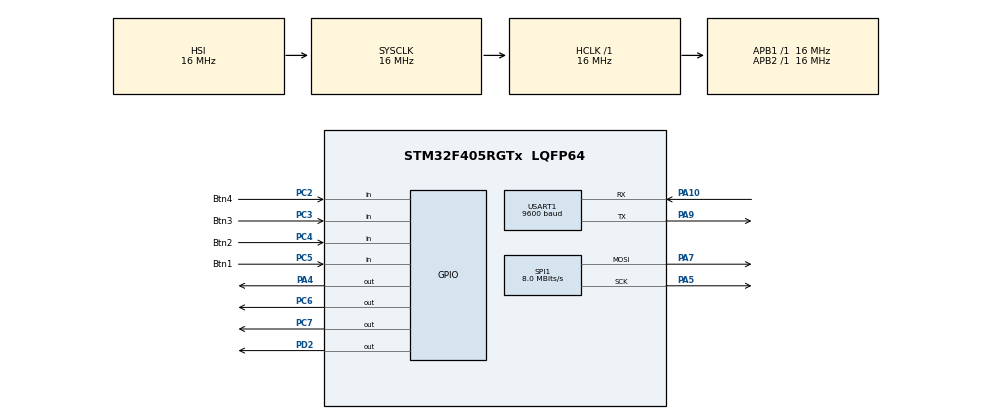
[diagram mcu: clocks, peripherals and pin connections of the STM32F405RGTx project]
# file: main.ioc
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Mcu.Family=STM32F4
Mcu.Name=STM32F405RGTx
Mcu.Package=LQFP64
NVIC.PriorityGroup=NVIC_PRIORITYGROUP_4
PA10.Mode=Asynchronous
PA10.Signal=USART1_RX
PA13.Mode=Serial_Wire
PA13.Signal=SYS_JTMS-SWDIO
PA14.Mode=Serial_Wire
PA14.Signal=SYS_JTCK-SWCLK
PA4.Signal=GPIO_Output
PA5.Mode=TX_Only_Simplex_Unidirect_Master
PA5.Signal=SPI1_SCK
PA7.Mode=TX_Only_Simplex_Unidirect_Master
PA7.Signal=SPI1_MOSI
PA9.Mode=Asynchronous
PA9.Signal=USART1_TX
PC14-OSC32_IN.Mode=LSE-External-Oscillator
PC14-OSC32_IN.Signal=RCC_OSC32_IN
PC15-OSC32_OUT.Mode=LSE-External-Oscillator
PC15-OSC32_OUT.Signal=RCC_OSC32_OUT
PC2.GPIO_Label=Btn4
PC2.Signal=GPIO_Input
PC3.GPIO_Label=Btn3
PC3.Signal=GPIO_Input
PC4.GPIO_Label=Btn2
PC4.Signal=GPIO_Input
PC5.GPIO_Label=Btn1
PC5.Signal=GPIO_Input
PC6.Signal=GPIO_Output
PC7.Signal=GPIO_Output
PD2.Signal=GPIO_Output
PH0-OSC_IN.Mode=HSE-External-Oscillator
PH0-OSC_IN.Signal=RCC_OSC_IN
PH1-OSC_OUT.Mode=HSE-External-Oscillator
PH1-OSC_OUT.Signal=RCC_OSC_OUT
ProjectManager.HeapSize=0x200
ProjectManager.StackSize=0x400
ProjectManager.TargetToolchain=Makefile
RCC.48MHZClocksFreq_Value=48000000
RCC.AHBFreq_Value=16000000
RCC.APB1Freq_Value=16000000
RCC.APB2Freq_Value=16000000
RCC.CortexFreq_Value=16000000
RCC.HSE_VALUE=16000000
RCC.HSI_VALUE=16000000
RCC.PLLSourceVirtual=RCC_PLLSOURCE_HSE
RCC.RCC_RTC_Clock_SourceVirtual=RCC_RTCCLKSOURCE_LSE
RCC.SYSCLKFreq_VALUE=16000000
RCC.VCOOutputFreq_Value=192000000
SPI1.BaudRatePrescaler=SPI_BAUDRATEPRESCALER_2
SPI1.CalculateBaudRate=8.0 MBits/s
SPI1.Direction=SPI_DIRECTION_2LINES
SPI1.Mode=SPI_MODE_MASTER
SPI1.VirtualType=VM_MASTER
USART1.BaudRate=9600
USART1.VirtualMode=VM_ASYNC
VP_RTC_VS_RTC_Activate.Mode=RTC_Enabled
VP_RTC_VS_RTC_Calendar.Mode=RTC_Calendar
board=main

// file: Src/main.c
#include "main.h"
#include "stm32f4xx_hal.h"

/* USER CODE BEGIN Includes */
/* vim: set ai et ts=4 sw=4: */
#include <string.h>
#include <stdarg.h>
#include <stdbool.h>
#include "st7735.h"

/* USER CODE END Includes */

RTC_HandleTypeDef hrtc;
RTC_TimeTypeDef sTime;
RTC_DateTypeDef sDate;

SPI_HandleTypeDef hspi1;

UART_HandleTypeDef huart1;

/* USER CODE BEGIN PV */
/* Private variables ---------------------------------------------------------*/

/* USER CODE END PV */

void SystemClock_Config(void);
static void MX_GPIO_Init(void);
static void MX_USART1_UART_Init(void);
static void MX_RTC_Init(void);
static void MX_SPI1_Init(void);

/* USER CODE BEGIN PFP */
/* Private function prototypes -----------------------------------------------*/

/* USER CODE END PFP */

/* USER CODE BEGIN 0 */

#define NCOLORS 7
static const char colors[NCOLORS+1] = "wyrgbmc";

void UART_Printf(const char* fmt, ...) {
    char buff[256];
    va_list args;
    va_start(args, fmt);
    vsnprintf(buff, sizeof(buff), fmt, args);
    HAL_UART_Transmit(&huart1, (uint8_t*)buff, strlen(buff),
                      HAL_MAX_DELAY);
    va_end(args);
}

void Fix_Date(RTC_DateTypeDef* date, bool set_max) {
    if(date->Date == 0) {
        date->Date = 1;
        return; // no need to re-check
    }

    if(date->Date <= 28) {
        return; // always OK
    }

    // since Year is 0..99 there is no need to
    // check (Year % 100) and (Year % 400) cases.
    bool is_leap = (date->Year % 4) == 0;
    uint8_t days_in_month = 31;
    // There are 30 days in April, June, September and November
    if((date->Month == 4) || (date->Month == 6) || (date->Month == 9) || (date->Month == 11)) {
        days_in_month = 30;
    } else if(date->Month == 2) { // February
        days_in_month = is_leap ? 29 : 28;
    }

    if(date->Date > days_in_month) {
        date->Date = set_max ? days_in_month : 1;
    }
}

int RTC_Set(
        uint8_t year, uint8_t month, uint8_t day,
        uint8_t hour, uint8_t min, uint8_t sec,
        uint8_t dow) {
    HAL_StatusTypeDef res;
    RTC_TimeTypeDef time;
    RTC_DateTypeDef date;

    memset(&time, 0, sizeof(time));
    memset(&date, 0, sizeof(date));

    date.WeekDay = dow;
    date.Year = year;
    date.Month = month;
    date.Date = day;

    res = HAL_RTC_SetDate(&hrtc, &date, RTC_FORMAT_BIN);
    if(res != HAL_OK) {
        UART_Printf("HAL_RTC_SetDate failed: %d\r\n", res);
        return -1;
    }

    time.Hours = hour;
    time.Minutes = min;
    time.Seconds = sec;

    res = HAL_RTC_SetTime(&hrtc, &time, RTC_FORMAT_BIN);
    if(res != HAL_OK) {
        UART_Printf("HAL_RTC_SetTime failed: %d\r\n", res);
        return -2;
    }

    return 0;
}

void init() {
    ST7735_Init();
    ST7735_FillScreen(ST7735_BLACK);

    HAL_PWR_EnableBkUpAccess();

    UART_Printf("Ready!\r\n");
}

uint16_t font_color(uint8_t clr, bool selected) {
    if(selected) {
        clr = (clr + 1) % NCOLORS;
    }

    switch(colors[clr]) {
        case 'w':
            return ST7735_WHITE;
        case 'y':
            return ST7735_YELLOW;
        case 'r':
            return ST7735_RED;
        case 'g':
            return ST7735_GREEN;
        case 'b':
            return ST7735_BLUE;
        case 'm':
            return ST7735_MAGENTA;
        case 'c':
            return ST7735_CYAN;
        default: // should never happen, return gray
            return ST7735_COLOR565(15, 31, 15);
    }
}

uint8_t cursor_offset = 0;

void loop() {
    HAL_Delay(100);

    bool btn_dec = false;
    bool btn_inc = false;

    if(HAL_GPIO_ReadPin(Btn1_GPIO_Port, Btn1_Pin) == GPIO_PIN_RESET) {
        cursor_offset = (cursor_offset == 0) ? 7 : cursor_offset - 1;
    }

    if(HAL_GPIO_ReadPin(Btn2_GPIO_Port, Btn2_Pin) == GPIO_PIN_RESET) {
        cursor_offset = (cursor_offset + 1) % 9;
    }

    if(HAL_GPIO_ReadPin(Btn3_GPIO_Port, Btn3_Pin) == GPIO_PIN_RESET) {
        btn_dec = true;
    }

    if(HAL_GPIO_ReadPin(Btn4_GPIO_Port, Btn4_Pin) == GPIO_PIN_RESET) {
        btn_inc = true;
    }

    RTC_TimeTypeDef time;
    RTC_DateTypeDef date;
    HAL_StatusTypeDef res;

    res = HAL_RTC_GetTime(&hrtc, &time, RTC_FORMAT_BIN);
    if(res != HAL_OK) {
        UART_Printf("HAL_RTC_GetTime failed: %d\r\n", res);
        return;
    }

    res = HAL_RTC_GetDate(&hrtc, &date, RTC_FORMAT_BIN);
    if(res != HAL_OK) {
        UART_Printf("HAL_RTC_GetDate failed: %d\r\n", res);
        return;
    }

    uint8_t chosen_color = (uint8_t)HAL_RTCEx_BKUPRead(&hrtc, RTC_BKP_DR1);
    chosen_color = chosen_color % NCOLORS;
    uint16_t default_color = font_color(chosen_color, false);

    char tmp[32];
    snprintf(tmp, sizeof(tmp), "%02d", time.Hours);
    ST7735_WriteString(11*0, 18*0, tmp, Font_11x18, font_color(chosen_color, (cursor_offset == 1)), ST7735_BLACK);
    ST7735_WriteString(11*2, 18*0, ":", Font_11x18, default_color, ST7735_BLACK);
    snprintf(tmp, sizeof(tmp), "%02d", time.Minutes);
    ST7735_WriteString(11*3, 18*0, tmp, Font_11x18, font_color(chosen_color, (cursor_offset == 2)), ST7735_BLACK);
    ST7735_WriteString(11*5, 18*0, ":", Font_11x18, default_color, ST7735_BLACK);
    snprintf(tmp, sizeof(tmp), "%02d", time.Seconds);
    ST7735_WriteString(11*6, 18*0, tmp, Font_11x18, font_color(chosen_color, (cursor_offset == 3)), ST7735_BLACK);

    snprintf(tmp, sizeof(tmp), "%02d", date.Date);
    ST7735_WriteString(11*0, 18*1, tmp, Font_11x18, font_color(chosen_color, (cursor_offset == 4)), ST7735_BLACK);
    ST7735_WriteString(11*2, 18*1, ".", Font_11x18, default_color, ST7735_BLACK);
    snprintf(tmp, sizeof(tmp), "%02d", date.Month);
    ST7735_WriteString(11*3, 18*1, tmp, Font_11x18, font_color(chosen_color, (cursor_offset == 5)), ST7735_BLACK);
    ST7735_WriteString(11*5, 18*1, ".", Font_11x18, default_color, ST7735_BLACK);
    snprintf(tmp, sizeof(tmp), "%02d", date.Year);
    ST7735_WriteString(11*6, 18*1, tmp, Font_11x18, font_color(chosen_color, (cursor_offset == 6)), ST7735_BLACK);

    ST7735_WriteString(11*0, 18*2, "DOW:  ", Font_11x18, default_color, ST7735_BLACK);
    snprintf(tmp, sizeof(tmp), "%02d", date.WeekDay);
    ST7735_WriteString(11*6, 18*2, tmp, Font_11x18, font_color(chosen_color, (cursor_offset == 7)), ST7735_BLACK);

    ST7735_WriteString(11*0, 18*3, "Color: ", Font_11x18, default_color, ST7735_BLACK);
    snprintf(tmp, sizeof(tmp), "%c/%c", colors[chosen_color], colors[(chosen_color + 1) % NCOLORS]);
    ST7735_WriteString(11*7, 18*3, tmp, Font_11x18, font_color(chosen_color, (cursor_offset == 8)), ST7735_BLACK);

    if(cursor_offset == 1) { // edit hour
        if(btn_dec) {
            if(time.Hours == 0) {
                time.Hours = 23;
            } else {
                time.Hours--;
            }
        } else if(btn_inc) {
            time.Hours = (time.Hours + 1) % 24;
        }
    }

    if(cursor_offset == 2) { // edit minute
        if(btn_dec) {
            if(time.Minutes == 0) {
                time.Minutes = 59;
            } else {
                time.Minutes--;
            }
        } else if(btn_inc) {
            time.Minutes = (time.Minutes + 1) % 60;
        }
    }

    if(cursor_offset == 3) { // edit second
        if(btn_dec) {
            if(time.Seconds == 0) {
                time.Seconds = 59;
            } else {
                time.Seconds--;
            }
        } else if(btn_inc) {
            time.Seconds = (time.Seconds + 1) % 60;
        }
    }

    if(cursor_offset == 4) { // edit day
        if(btn_dec) {
            if(date.Date == 1) {
                date.Date = 31;
                Fix_Date(&date, true);
            } else {
                date.Date--;
            }
        } else if(btn_inc) {
            date.Date++;
            Fix_Date(&date, false);
        }
    }

    if(cursor_offset == 5) { // edit month
        if(btn_dec) {
            if(date.Month == 1) {
                date.Month = 12;
            } else {
                date.Month--;
            }
        } else if(btn_inc) {
            if(date.Month == 12) {
                date.Month = 1;
            } else {
                date.Month++;
            }
        }

        Fix_Date(&date, true);
    }

    if(cursor_offset == 6) { // edit year
        if(btn_dec) {
            if(date.Year == 0) {
                date.Year = 99;
            } else {
                date.Year--;
            }
        } else if(btn_inc) {
            date.Year = (date.Year + 1) % 100;
        }
        Fix_Date(&date, true);
    }

    if(cursor_offset == 7) { // edit day of week
        if(btn_dec) {
            if(date.WeekDay == 1) {
                date.WeekDay = 7;
            } else {
                date.WeekDay--;
            }
        } else if(btn_inc) {
            if(date.WeekDay == 7) {
                date.WeekDay = 1;
            } else {
                date.WeekDay++;
            }
        }
    }

    if(cursor_offset == 8) { // edir color
        if(btn_dec) {
            if(chosen_color == 0) {
                chosen_color = NCOLORS-1;
            } else {
                chosen_color--;
            }
        } else if(btn_inc) {
            chosen_color = (chosen_color + 1) % NCOLORS;
        }
    }

    // Don't re-use RTC_*TypeDef structures filled by HAL_RTC_GetTime/GetDate
    // It causes bugs like 25th hour
    if((cursor_offset >= 1) && (cursor_offset <= 7) && (btn_dec || btn_inc)) {
        RTC_Set(
           date.Year,  date.Month, date.Date,      // Y, M, D
           time.Hours, time.Minutes, time.Seconds, // H, M, S
           date.WeekDay // day of week, 1-7 (mon-sun)
        );
    }

    if((cursor_offset == 8) && (btn_dec || btn_inc)) {
        HAL_RTCEx_BKUPWrite(&hrtc, RTC_BKP_DR1, (uint32_t)chosen_color);
    }
}

/* USER CODE END 0 */

int main(void)
{

  /* MCU Configuration----------------------------------------------------------*/

  /* Reset of all peripherals, Initializes the Flash interface and the Systick. */
  HAL_Init();

  /* Configure the system clock */
  SystemClock_Config();

  /* Initialize all configured peripherals */
  MX_GPIO_Init();
  MX_USART1_UART_Init();
  MX_RTC_Init();
  MX_SPI1_Init();

  /* Infinite loop */
  /* USER CODE BEGIN WHILE */
  init();
  while (1)
  {
    loop();
  /* USER CODE END WHILE */

  }

}

/** System Clock Configuration
*/
void SystemClock_Config(void)
{

  RCC_OscInitTypeDef RCC_OscInitStruct;
  RCC_ClkInitTypeDef RCC_ClkInitStruct;
  RCC_PeriphCLKInitTypeDef PeriphClkInitStruct;

    /**Configure the main internal regulator output voltage
    */
  __HAL_RCC_PWR_CLK_ENABLE();

  __HAL_PWR_VOLTAGESCALING_CONFIG(PWR_REGULATOR_VOLTAGE_SCALE1);

    /**Initializes the CPU, AHB and APB busses clocks
    */
  RCC_OscInitStruct.OscillatorType = RCC_OSCILLATORTYPE_HSI|RCC_OSCILLATORTYPE_LSE;
  RCC_OscInitStruct.LSEState = RCC_LSE_ON;
  RCC_OscInitStruct.HSIState = RCC_HSI_ON;
  RCC_OscInitStruct.HSICalibrationValue = 16;
  RCC_OscInitStruct.PLL.PLLState = RCC_PLL_NONE;
  if (HAL_RCC_OscConfig(&RCC_OscInitStruct) != HAL_OK)
  {
    _Error_Handler(__FILE__, __LINE__);
  }

    /**Initializes the CPU, AHB and APB busses clocks
    */
  RCC_ClkInitStruct.ClockType = RCC_CLOCKTYPE_HCLK|RCC_CLOCKTYPE_SYSCLK
                              |RCC_CLOCKTYPE_PCLK1|RCC_CLOCKTYPE_PCLK2;
  RCC_ClkInitStruct.SYSCLKSource = RCC_SYSCLKSOURCE_HSI;
  RCC_ClkInitStruct.AHBCLKDivider = RCC_SYSCLK_DIV1;
  RCC_ClkInitStruct.APB1CLKDivider = RCC_HCLK_DIV1;
  RCC_ClkInitStruct.APB2CLKDivider = RCC_HCLK_DIV1;

  if (HAL_RCC_ClockConfig(&RCC_ClkInitStruct, FLASH_LATENCY_0) != HAL_OK)
  {
    _Error_Handler(__FILE__, __LINE__);
  }

  PeriphClkInitStruct.PeriphClockSelection = RCC_PERIPHCLK_RTC;
  PeriphClkInitStruct.RTCClockSelection = RCC_RTCCLKSOURCE_LSE;
  if (HAL_RCCEx_PeriphCLKConfig(&PeriphClkInitStruct) != HAL_OK)
  {
    _Error_Handler(__FILE__, __LINE__);
  }

    /**Configure the Systick interrupt time
    */
  HAL_SYSTICK_Config(HAL_RCC_GetHCLKFreq()/1000);

    /**Configure the Systick
    */
  HAL_SYSTICK_CLKSourceConfig(SYSTICK_CLKSOURCE_HCLK);

  /* SysTick_IRQn interrupt configuration */
  HAL_NVIC_SetPriority(SysTick_IRQn, 0, 0);
}

/* RTC init function */
static void MX_RTC_Init(void)
{

    /**Initialize RTC Only
    */
  hrtc.Instance = RTC;
  hrtc.Init.HourFormat = RTC_HOURFORMAT_24;
  hrtc.Init.AsynchPrediv = 127;
  hrtc.Init.SynchPrediv = 255;
  hrtc.Init.OutPut = RTC_OUTPUT_DISABLE;
  hrtc.Init.OutPutPolarity = RTC_OUTPUT_POLARITY_HIGH;
  hrtc.Init.OutPutType = RTC_OUTPUT_TYPE_OPENDRAIN;
  if (HAL_RTC_Init(&hrtc) != HAL_OK)
  {
    _Error_Handler(__FILE__, __LINE__);
  }

    /**Initialize RTC and set the Time and Date
    */
  if(HAL_RTCEx_BKUPRead(&hrtc, RTC_BKP_DR0) != 0x32F2){
  if (HAL_RTC_SetTime(&hrtc, &sTime, RTC_FORMAT_BCD) != HAL_OK)
  {
    _Error_Handler(__FILE__, __LINE__);
  }

  if (HAL_RTC_SetDate(&hrtc, &sDate, RTC_FORMAT_BCD) != HAL_OK)
  {
    _Error_Handler(__FILE__, __LINE__);
  }

    HAL_RTCEx_BKUPWrite(&hrtc,RTC_BKP_DR0,0x32F2);
  }

}

/* SPI1 init function */
static void MX_SPI1_Init(void)
{

  /* SPI1 parameter configuration*/
  hspi1.Instance = SPI1;
  hspi1.Init.Mode = SPI_MODE_MASTER;
  hspi1.Init.Direction = SPI_DIRECTION_2LINES;
  hspi1.Init.DataSize = SPI_DATASIZE_8BIT;
  hspi1.Init.CLKPolarity = SPI_POLARITY_LOW;
  hspi1.Init.CLKPhase = SPI_PHASE_1EDGE;
  hspi1.Init.NSS = SPI_NSS_SOFT;
  hspi1.Init.BaudRatePrescaler = SPI_BAUDRATEPRESCALER_2;
  hspi1.Init.FirstBit = SPI_FIRSTBIT_MSB;
  hspi1.Init.TIMode = SPI_TIMODE_DISABLE;
  hspi1.Init.CRCCalculation = SPI_CRCCALCULATION_DISABLE;
  hspi1.Init.CRCPolynomial = 10;
  if (HAL_SPI_Init(&hspi1) != HAL_OK)
  {
    _Error_Handler(__FILE__, __LINE__);
  }

}

/* USART1 init function */
static void MX_USART1_UART_Init(void)
{

  huart1.Instance = USART1;
  huart1.Init.BaudRate = 9600;
  huart1.Init.WordLength = UART_WORDLENGTH_8B;
  huart1.Init.StopBits = UART_STOPBITS_1;
  huart1.Init.Parity = UART_PARITY_NONE;
  huart1.Init.Mode = UART_MODE_TX_RX;
  huart1.Init.HwFlowCtl = UART_HWCONTROL_NONE;
  huart1.Init.OverSampling = UART_OVERSAMPLING_16;
  if (HAL_UART_Init(&huart1) != HAL_OK)
  {
    _Error_Handler(__FILE__, __LINE__);
  }

}

/** Configure pins as
        * Analog
        * Input
        * Output
        * EVENT_OUT
        * EXTI
*/
static void MX_GPIO_Init(void)
{

  GPIO_InitTypeDef GPIO_InitStruct;

  /* GPIO Ports Clock Enable */
  __HAL_RCC_GPIOC_CLK_ENABLE();
  __HAL_RCC_GPIOH_CLK_ENABLE();
  __HAL_RCC_GPIOA_CLK_ENABLE();
  __HAL_RCC_GPIOD_CLK_ENABLE();

  /*Configure GPIO pin Output Level */
  HAL_GPIO_WritePin(GPIOA, GPIO_PIN_4, GPIO_PIN_RESET);

  /*Configure GPIO pin Output Level */
  HAL_GPIO_WritePin(GPIOC, GPIO_PIN_6|GPIO_PIN_7, GPIO_PIN_RESET);

  /*Configure GPIO pin Output Level */
  HAL_GPIO_WritePin(GPIOD, GPIO_PIN_2, GPIO_PIN_RESET);

  /*Configure GPIO pins : Btn4_Pin Btn3_Pin Btn2_Pin Btn1_Pin */
  GPIO_InitStruct.Pin = Btn4_Pin|Btn3_Pin|Btn2_Pin|Btn1_Pin;
  GPIO_InitStruct.Mode = GPIO_MODE_INPUT;
  GPIO_InitStruct.Pull = GPIO_NOPULL;
  HAL_GPIO_Init(GPIOC, &GPIO_InitStruct);

  /*Configure GPIO pin : PA4 */
  GPIO_InitStruct.Pin = GPIO_PIN_4;
  GPIO_InitStruct.Mode = GPIO_MODE_OUTPUT_PP;
  GPIO_InitStruct.Pull = GPIO_NOPULL;
  GPIO_InitStruct.Speed = GPIO_SPEED_FREQ_LOW;
  HAL_GPIO_Init(GPIOA, &GPIO_InitStruct);

  /*Configure GPIO pins : PC6 PC7 */
  GPIO_InitStruct.Pin = GPIO_PIN_6|GPIO_PIN_7;
  GPIO_InitStruct.Mode = GPIO_MODE_OUTPUT_PP;
  GPIO_InitStruct.Pull = GPIO_NOPULL;
  GPIO_InitStruct.Speed = GPIO_SPEED_FREQ_LOW;
  HAL_GPIO_Init(GPIOC, &GPIO_InitStruct);

  /*Configure GPIO pin : PD2 */
  GPIO_InitStruct.Pin = GPIO_PIN_2;
  GPIO_InitStruct.Mode = GPIO_MODE_OUTPUT_PP;
  GPIO_InitStruct.Pull = GPIO_NOPULL;
  GPIO_InitStruct.Speed = GPIO_SPEED_FREQ_LOW;
  HAL_GPIO_Init(GPIOD, &GPIO_InitStruct);

}

void _Error_Handler(char * file, int line)
{
  while(1)
  {
  }
}

/************************ (C) COPYRIGHT STMicroelectronics *****END OF FILE****/
